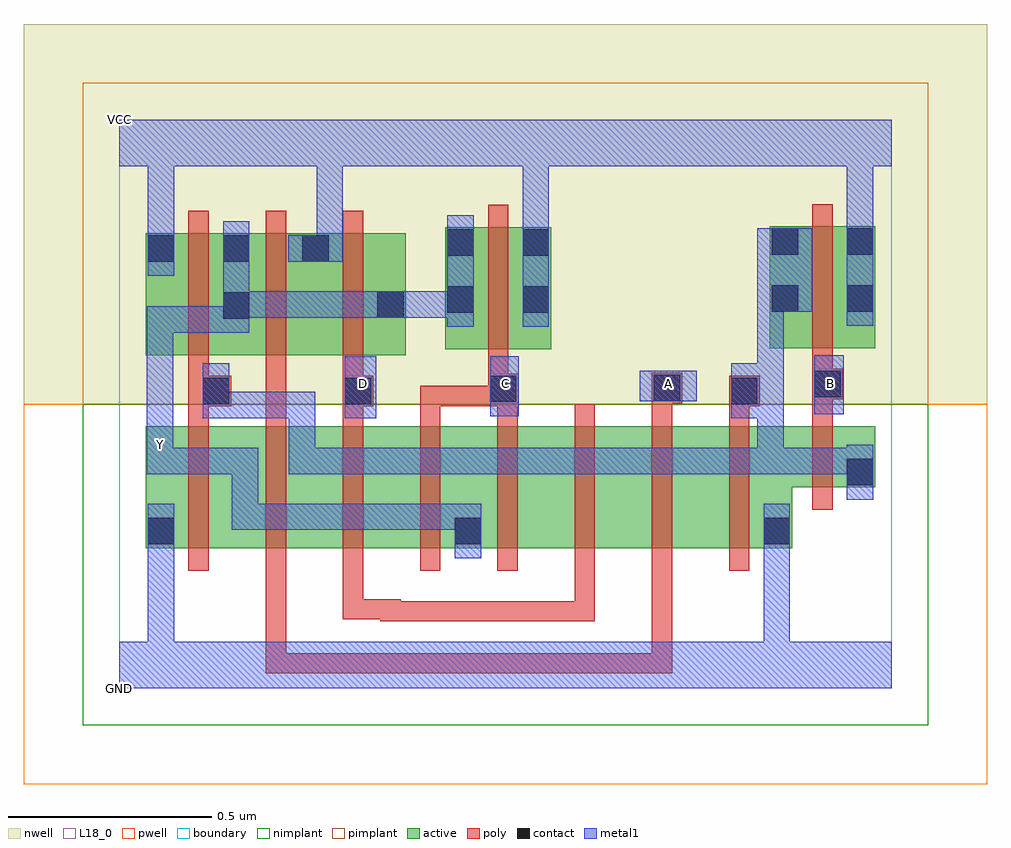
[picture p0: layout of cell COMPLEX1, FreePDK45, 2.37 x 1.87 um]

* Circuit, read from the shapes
.subckt COMPLEX1 A B C D GND VCC Y
M1 n1 n2 GND VSUBS nfet w=0.3u l=0.05u
M2 n3 A n1 VSUBS nfet w=0.3u l=0.05u
M3 n4 D n3 VSUBS nfet w=0.3u l=0.05u
M4 Y C n4 VSUBS nfet w=0.3u l=0.05u
M5 n5 C Y VSUBS nfet w=0.3u l=0.05u
M6 n6 D n5 VSUBS nfet w=0.3u l=0.05u
M7 n7 A n6 VSUBS nfet w=0.3u l=0.05u
M8 GND n2 n7 VSUBS nfet w=0.3u l=0.05u
M9 n2 B GND VSUBS nfet w=0.15u l=0.05u
M10 Y n2 VCC n8 pfet w=0.3u l=0.05u
M11 VCC A Y n8 pfet w=0.3u l=0.05u
M12 Y D VCC n8 pfet w=0.3u l=0.05u
M13 VCC C Y n8 pfet w=0.3u l=0.05u
M14 VCC B n2 n8 pfet w=0.3u l=0.05u
.ends

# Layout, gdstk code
import gdstk
lib = gdstk.Library(unit=1e-6, precision=1e-09)
def R(c, l, rs):  # rectangles x0, y0, x1, y1
    for r in rs: c.add(gdstk.rectangle(r[:2], r[2:], *l))
def A(c, l, x, y, w, h, nx, ny, dx, dy):  # array of equal rectangles
    R(c, l, [(x+i*dx, y+j*dy, x+i*dx+w, y+j*dy+h) for i in range(nx) for j in range(ny)])
active = (1, 0)
pwell = (2, 0)
nwell = (3, 0)
nimplant = (4, 0)
pimplant = (5, 0)
poly = (9, 0)
contact = (10, 0)
metal1 = (11, 0)
L18_0 = (18, 0)
boundary = (235, 0)

complex1 = lib.new_cell('COMPLEX1')
R(complex1, active, [(0.065,0.345,0.29,0.645), (0.065,0.345,0.14,0.645), (0.29,0.345,0.48,0.645), (0.48,0.345,0.67,0.645), (0.67,0.345,0.895,0.645), (0.82,0.345,1.05,0.645), (0.82,0.345,0.895,0.642), (1.05,0.345,1.24,0.645), (1.24,0.345,1.43,0.645), (1.43,0.345,1.655,0.645), (1.58,0.345,1.655,0.495), (1.58,0.495,1.86,0.645), (1.785,0.495,1.86,0.645), (0.065,0.82,0.14,1.12), (0.065,0.82,0.325,1.12), (0.25,0.82,0.325,1.12), (0.25,0.82,0.52,1.12), (0.445,0.82,0.705,1.12), (0.63,0.82,0.705,1.055), (0.802,0.835,0.877,1.135), (0.802,0.835,1.062,1.135), (0.987,0.835,1.062,1.135), (1.6,0.837,1.675,1.137), (1.6,0.837,1.86,1.137), (1.785,0.837,1.86,1.137), (0.445,0.872,0.52,1.12)])
R(complex1, pwell, [(-0.235,-0.235,2.135,0.7)])
R(complex1, nwell, [(-0.235,0.7,2.135,1.635)])
R(complex1, nimplant, [(-0.09,-0.09,1.99,0.7)])
R(complex1, pimplant, [(-0.09,0.7,1.99,1.49)])
A(complex1, poly, 0.17, 0.29, 0.05, 0.41, 8, 1, 0.19, 0)
A(complex1, poly, 0.17, 0.65, 0.05, 0.095, 5, 1, 0.19, 0)
A(complex1, poly, 0.17, 0.765, 0.05, 0.41, 3, 1, 0.19, 0)
R(complex1, poly, [(0.36,0.037,0.41,0.34), (0.36,0.037,0.41,0.087), (0.36,0.037,0.41,0.087), (0.36,0.037,0.41,0.087), (0.36,0.037,0.41,0.087), (0.36,0.037,0.41,0.087), (0.36,0.037,0.542,0.087), (0.492,0.037,0.542,0.087), (0.492,0.037,0.542,0.087), (0.492,0.037,0.542,0.087), (0.492,0.037,0.825,0.087), (0.775,0.037,0.825,0.087), (0.775,0.037,0.825,0.087), (0.775,0.037,0.825,0.087), (0.775,0.037,1.015,0.087), (0.965,0.037,1.015,0.087), (0.965,0.037,1.015,0.087), (0.965,0.037,1.015,0.087), (0.965,0.037,1.227,0.087), (1.177,0.037,1.227,0.087), (1.177,0.037,1.36,0.087), (1.31,0.037,1.36,0.34), (1.31,0.037,1.36,0.087), (1.31,0.037,1.36,0.087), (1.31,0.037,1.36,0.087), (1.31,0.037,1.36,0.087), (1.31,0.037,1.36,0.087), (0.642,0.165,0.825,0.215), (0.642,0.165,0.692,0.22), (0.775,0.165,0.825,0.215), (0.775,0.165,0.882,0.215), (0.832,0.165,0.882,0.215), (0.832,0.165,1.037,0.215), (0.987,0.165,1.037,0.215), (0.987,0.165,1.037,0.215), (0.987,0.165,1.037,0.215), (0.987,0.165,1.17,0.215), (1.12,0.165,1.17,0.215), (1.12,0.165,1.17,0.34), (0.55,0.17,0.6,0.22), (0.55,0.17,0.692,0.22), (0.55,0.17,0.6,0.34), (1.705,0.44,1.755,0.7), (1.31,0.65,1.36,0.752), (1.5,0.65,1.55,0.745), (1.705,0.65,1.755,0.762), (0.17,0.695,0.275,0.77), (0.36,0.695,0.41,0.745), (0.36,0.695,0.41,0.815), (0.55,0.695,0.625,0.77), (0.74,0.695,0.79,0.745), (0.74,0.695,0.882,0.745), (0.832,0.695,0.882,0.745), (0.832,0.695,0.957,0.745), (0.907,0.695,0.982,0.775), (1.5,0.695,1.575,0.77), (1.31,0.702,1.385,0.777), (1.705,0.712,1.78,0.787), (0.17,0.72,0.22,0.815), (0.55,0.72,0.6,0.815), (0.907,0.725,0.957,0.83), (1.705,0.737,1.755,0.832), (0.907,0.78,0.957,1.19), (1.705,0.782,1.755,1.192)])
R(complex1, contact, [(0.07,0.355,0.135,0.42), (0.825,0.355,0.89,0.42), (1.585,0.355,1.65,0.42), (1.79,0.5,1.855,0.565), (0.205,0.7,0.27,0.765), (0.555,0.7,0.62,0.765), (1.505,0.7,1.57,0.765), (0.912,0.705,0.977,0.77), (1.315,0.707,1.38,0.772), (1.71,0.717,1.775,0.782), (0.255,0.91,0.32,0.975), (0.635,0.912,0.7,0.977), (0.807,0.925,0.872,0.99), (0.992,0.925,1.057,0.99), (1.605,0.927,1.67,0.992), (1.79,0.927,1.855,0.992), (0.07,1.05,0.135,1.115), (0.255,1.05,0.32,1.115), (0.45,1.05,0.515,1.115), (0.807,1.065,0.872,1.13), (0.992,1.065,1.057,1.13), (1.605,1.067,1.67,1.132), (1.79,1.067,1.855,1.132)])
R(complex1, metal1, [(0,0,1.9,0.115), (0.07,0.05,0.135,0.115), (0.07,0.05,0.135,0.115), (0.07,0.05,0.135,0.385), (1.585,0.05,1.65,0.115), (1.585,0.05,1.65,0.115), (1.585,0.05,1.65,0.385), (0.07,0.32,0.135,0.385), (0.07,0.32,0.135,0.385), (0.07,0.32,0.135,0.455), (0.825,0.32,0.89,0.455), (1.585,0.32,1.65,0.385), (1.585,0.32,1.65,0.385), (1.585,0.32,1.65,0.455), (0.277,0.39,0.342,0.455), (0.277,0.39,0.482,0.455), (0.277,0.39,0.342,0.592), (0.417,0.39,0.482,0.455), (0.417,0.39,0.482,0.455), (0.417,0.39,0.482,0.455), (0.417,0.39,0.665,0.455), (0.6,0.39,0.665,0.455), (0.6,0.39,0.665,0.455), (0.6,0.39,0.665,0.455), (0.6,0.39,0.802,0.455), (0.737,0.39,0.802,0.455), (0.737,0.39,0.89,0.455), (1.79,0.465,1.855,0.6), (0.067,0.527,0.132,0.592), (0.067,0.527,0.132,0.592), (0.067,0.527,0.132,0.592), (0.067,0.527,0.132,0.592), (0.067,0.527,0.342,0.592), (0.067,0.527,0.132,0.667), (0.277,0.527,0.342,0.592), (0.417,0.527,0.482,0.592), (0.417,0.527,0.62,0.592), (0.417,0.527,0.482,0.73), (0.555,0.527,0.62,0.592), (0.555,0.527,0.62,0.592), (0.555,0.527,0.62,0.592), (0.555,0.527,0.802,0.592), (0.737,0.527,0.802,0.592), (0.737,0.527,0.872,0.592), (0.807,0.527,0.872,0.592), (0.807,0.527,0.94,0.592), (0.875,0.527,0.94,0.592), (0.875,0.527,1.077,0.592), (1.012,0.527,1.077,0.592), (1.012,0.527,1.077,0.592), (1.012,0.527,1.077,0.592), (1.012,0.527,1.215,0.592), (1.15,0.527,1.215,0.592), (1.15,0.527,1.215,0.592), (1.15,0.527,1.215,0.592), (1.15,0.527,1.352,0.592), (1.287,0.527,1.352,0.592), (1.287,0.527,1.352,0.592), (1.287,0.527,1.352,0.592), (1.287,0.527,1.635,0.592), (1.57,0.527,1.635,0.592), (1.57,0.527,1.855,0.592), (1.57,0.527,1.635,0.8), (1.79,0.527,1.855,0.592), (1.79,0.527,1.855,0.592), (0.067,0.602,0.132,0.94), (0.205,0.665,0.27,0.73), (0.205,0.665,0.27,0.73), (0.205,0.665,0.27,0.8), (0.205,0.665,0.482,0.73), (0.417,0.665,0.482,0.73), (0.417,0.665,0.482,0.73), (0.417,0.665,0.482,0.73), (0.555,0.665,0.632,0.817), (1.505,0.665,1.57,0.8), (0.912,0.67,0.982,0.817), (1.71,0.675,1.782,0.82), (1.28,0.707,1.42,0.782), (1.505,0.735,1.635,0.8), (1.57,0.735,1.635,0.8), (1.57,0.735,1.635,0.992), (0.067,0.875,0.132,0.94), (0.067,0.875,0.32,0.94), (0.255,0.875,0.32,0.94), (0.255,0.875,0.32,0.94), (0.255,0.875,0.32,1.15), (0.807,0.89,0.872,1.165), (0.992,0.89,1.057,1.165), (1.79,0.892,1.855,1.167), (0.255,0.912,0.482,0.977), (0.417,0.912,0.482,0.977), (0.417,0.912,0.482,0.977), (0.417,0.912,0.482,0.977), (0.417,0.912,0.665,0.977), (0.6,0.912,0.665,0.977), (0.6,0.912,0.665,0.977), (0.6,0.912,0.735,0.977), (0.67,0.912,0.802,0.977), (0.737,0.912,0.802,0.977), (0.737,0.912,0.872,0.977), (1.57,0.927,1.705,1.132), (0.07,1.015,0.135,1.15), (0.415,1.05,0.55,1.115), (0.485,1.05,0.55,1.35), (0.07,1.085,0.135,1.15), (0.07,1.085,0.135,1.15), (0.07,1.085,0.135,1.35), (0.992,1.1,1.057,1.165), (0.992,1.1,1.057,1.165), (0.992,1.1,1.057,1.35), (1.79,1.102,1.855,1.35), (0,1.285,1.9,1.4), (0.485,1.285,0.55,1.35), (0.485,1.285,0.55,1.35), (1.79,1.285,1.855,1.35), (1.79,1.285,1.855,1.35)])
A(complex1, L18_0, 0.917, 0.717, 0.065, 0.065, 3, 1, 0.4, 0)
R(complex1, L18_0, [(0,0,1.9,0.115), (0.07,0.05,0.135,0.115), (0.07,0.05,0.135,0.115), (0.07,0.05,0.135,0.385), (1.585,0.05,1.65,0.115), (1.585,0.05,1.65,0.115), (1.585,0.05,1.65,0.385), (0.07,0.32,0.135,0.385), (0.07,0.32,0.135,0.385), (0.07,0.32,0.135,0.455), (0.825,0.32,0.89,0.455), (1.585,0.32,1.65,0.385), (1.585,0.32,1.65,0.385), (1.585,0.32,1.65,0.455), (0.277,0.39,0.342,0.455), (0.277,0.39,0.342,0.592), (0.277,0.39,0.482,0.455), (0.417,0.39,0.482,0.455), (0.417,0.39,0.482,0.455), (0.417,0.39,0.482,0.455), (0.417,0.39,0.665,0.455), (0.6,0.39,0.665,0.455), (0.6,0.39,0.665,0.455), (0.6,0.39,0.665,0.455), (0.6,0.39,0.802,0.455), (0.737,0.39,0.802,0.455), (0.737,0.39,0.89,0.455), (0.067,0.527,0.132,0.592), (0.067,0.527,0.132,0.592), (0.067,0.527,0.132,0.592), (0.067,0.527,0.132,0.592), (0.067,0.527,0.132,0.667), (0.067,0.527,0.342,0.592), (0.277,0.527,0.342,0.592), (0.067,0.567,0.132,0.632), (0.067,0.602,0.132,0.94), (0.555,0.665,0.632,0.817), (0.912,0.67,0.982,0.817), (1.71,0.675,1.782,0.82), (1.28,0.707,1.42,0.782), (0.567,0.717,0.632,0.782), (0.067,0.875,0.132,0.94), (0.067,0.875,0.32,0.94), (0.255,0.875,0.32,0.94), (0.255,0.875,0.32,0.94), (0.255,0.875,0.32,1.15), (0.807,0.89,0.872,1.165), (0.992,0.89,1.057,1.165), (1.79,0.892,1.855,1.167), (0.255,0.912,0.482,0.977), (0.417,0.912,0.482,0.977), (0.417,0.912,0.482,0.977), (0.417,0.912,0.482,0.977), (0.417,0.912,0.665,0.977), (0.6,0.912,0.665,0.977), (0.6,0.912,0.665,0.977), (0.6,0.912,0.735,0.977), (0.67,0.912,0.802,0.977), (0.737,0.912,0.802,0.977), (0.737,0.912,0.872,0.977), (0.07,1.015,0.135,1.15), (0.415,1.05,0.55,1.115), (0.485,1.05,0.55,1.35), (0.07,1.085,0.135,1.15), (0.07,1.085,0.135,1.15), (0.07,1.085,0.135,1.35), (0.992,1.1,1.057,1.165), (0.992,1.1,1.057,1.165), (0.992,1.1,1.057,1.35), (1.79,1.102,1.855,1.35), (0,1.285,1.9,1.4), (0.485,1.285,0.55,1.35), (0.485,1.285,0.55,1.35), (1.79,1.285,1.855,1.35), (1.79,1.285,1.855,1.35)])
R(complex1, boundary, [(0,0,1.9,1.4)])
complex1.add(gdstk.Label('A', (1.35,0.75), layer=11, texttype=0))
complex1.add(gdstk.Label('B', (1.75,0.75), layer=11, texttype=0))
complex1.add(gdstk.Label('C', (0.95,0.75), layer=11, texttype=0))
complex1.add(gdstk.Label('D', (0.6,0.75), layer=11, texttype=0))
complex1.add(gdstk.Label('Y', (0.1,0.6), layer=11, texttype=0))
complex1.add(gdstk.Label('VCC', (0,1.4), layer=11, texttype=0))
complex1.add(gdstk.Label('GND', (0,0), layer=11, texttype=0))

lib.write_gds('COMPLEX1.gds')
